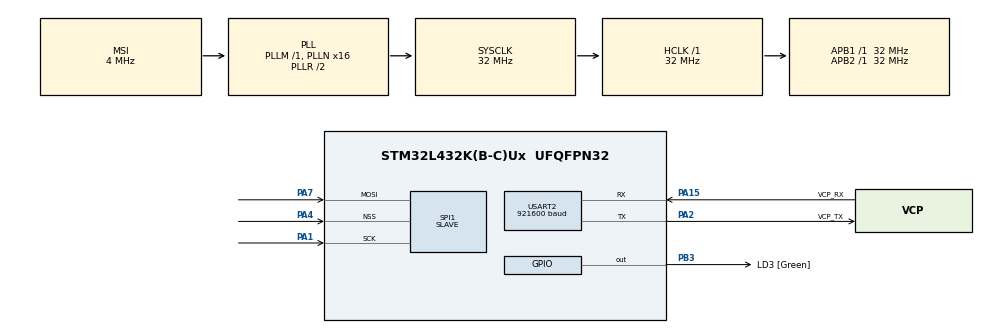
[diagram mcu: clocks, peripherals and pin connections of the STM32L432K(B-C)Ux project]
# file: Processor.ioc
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Dma.Request0=SPI1_RX
Dma.Request1=USART2_TX
Dma.SPI1_RX.0.Direction=DMA_PERIPH_TO_MEMORY
Dma.SPI1_RX.0.Instance=DMA2_Channel3
Dma.SPI1_RX.0.MemDataAlignment=DMA_MDATAALIGN_HALFWORD
Dma.SPI1_RX.0.MemInc=DMA_MINC_ENABLE
Dma.SPI1_RX.0.Mode=DMA_CIRCULAR
Dma.SPI1_RX.0.PeriphDataAlignment=DMA_PDATAALIGN_HALFWORD
Dma.SPI1_RX.0.PeriphInc=DMA_PINC_DISABLE
Dma.SPI1_RX.0.Priority=DMA_PRIORITY_LOW
Dma.USART2_TX.1.Direction=DMA_MEMORY_TO_PERIPH
Dma.USART2_TX.1.Instance=DMA1_Channel7
Dma.USART2_TX.1.MemDataAlignment=DMA_MDATAALIGN_BYTE
Dma.USART2_TX.1.MemInc=DMA_MINC_ENABLE
Dma.USART2_TX.1.Mode=DMA_NORMAL
Dma.USART2_TX.1.PeriphDataAlignment=DMA_PDATAALIGN_BYTE
Dma.USART2_TX.1.PeriphInc=DMA_PINC_DISABLE
Dma.USART2_TX.1.Priority=DMA_PRIORITY_LOW
Mcu.Family=STM32L4
Mcu.Name=STM32L432K(B-C)Ux
Mcu.Package=UFQFPN32
NVIC.DMA1_Channel7_IRQn=true\:0\:0\:false\:false\:true\:false\:true\:true
NVIC.DMA2_Channel3_IRQn=true\:0\:0\:false\:false\:true\:false\:true\:true
NVIC.PriorityGroup=NVIC_PRIORITYGROUP_4
NVIC.SPI1_IRQn=true\:0\:0\:false\:false\:true\:true\:true\:true
NVIC.USART2_IRQn=true\:0\:0\:false\:false\:true\:true\:true\:true
PA0.GPIO_Label=MCO [High speed clock in]
PA0.Mode=HSE-External-Clock-Source-for-LittleOrca
PA0.Signal=RCC_CK_IN
PA1.Mode=RX_Only_Simplex_Unidirect_Slave
PA1.Signal=SPI1_SCK
PA13\ (JTMS-SWDIO).GPIO_Label=SWDIO
PA13\ (JTMS-SWDIO).Mode=Serial_Wire
PA13\ (JTMS-SWDIO).Signal=SYS_JTMS-SWDIO
PA14\ (JTCK-SWCLK).GPIO_Label=SWCLK
PA14\ (JTCK-SWCLK).Mode=Serial_Wire
PA14\ (JTCK-SWCLK).Signal=SYS_JTCK-SWCLK
PA15\ (JTDI).GPIO_Label=VCP_RX
PA15\ (JTDI).Mode=Asynchronous
PA15\ (JTDI).Signal=USART2_RX
PA2.GPIO_Label=VCP_TX
PA2.Mode=Asynchronous
PA2.Signal=USART2_TX
PA4.Mode=NSS_Signal_Hard_Input
PA4.Signal=SPI1_NSS
PA7.Mode=RX_Only_Simplex_Unidirect_Slave
PA7.Signal=SPI1_MOSI
PB3\ (JTDO-TRACESWO).GPIO_Label=LD3 [Green]
PB3\ (JTDO-TRACESWO).Signal=GPIO_Output
PC14-OSC32_IN\ (PC14).Mode=LSE-External-Oscillator
PC14-OSC32_IN\ (PC14).Signal=RCC_OSC32_IN
PC15-OSC32_OUT\ (PC15).Mode=LSE-External-Oscillator
PC15-OSC32_OUT\ (PC15).Signal=RCC_OSC32_OUT
ProjectManager.HeapSize=0x200
ProjectManager.StackSize=0x400
ProjectManager.TargetToolchain=STM32CubeIDE
RCC.AHBFreq_Value=32000000
RCC.APB1Freq_Value=32000000
RCC.APB1TimFreq_Value=32000000
RCC.APB2Freq_Value=32000000
RCC.APB2TimFreq_Value=32000000
RCC.CortexFreq_Value=32000000
RCC.HCLKFreq_Value=32000000
RCC.HSE_VALUE=8000000
RCC.HSI16_VALUE=16000000
RCC.HSI48_VALUE=48000000
RCC.HSI_VALUE=16000000
RCC.MSI_VALUE=4000000
RCC.PLLMUL=RCC_PLLMUL_4
RCC.PLLN=16
RCC.SYSCLKFreq_VALUE=32000000
RCC.SYSCLKSource=RCC_SYSCLKSOURCE_PLLCLK
RCC.VCOOutputFreq_Value=64000000
SPI1.DataSize=SPI_DATASIZE_16BIT
SPI1.Direction=SPI_DIRECTION_2LINES_RXONLY
SPI1.Mode=SPI_MODE_SLAVE
SPI1.VirtualNSS=VM_NSSHARD
SPI1.VirtualType=VM_SLAVE
USART2.BaudRate=921600
USART2.Mode=MODE_TX_RX
USART2.VirtualMode-Asynchronous=VM_ASYNC
board=NUCLEO-L432KC

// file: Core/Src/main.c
/* USER CODE BEGIN Header */
/**
  ******************************************************************************
  * @file           : main.c
  * @brief          : Main program body
  ******************************************************************************
  * @attention
  *
  * Copyright (c) 2025 STMicroelectronics.
  * All rights reserved.
  *
  * This software is licensed under terms that can be found in the LICENSE file
  * in the root directory of this software component.
  * If no LICENSE file comes with this software, it is provided AS-IS.
  *
  ******************************************************************************
  */
/* USER CODE END Header */
#include "main.h"

/* USER CODE BEGIN Includes */
#include <stdio.h>
#include <string.h>

/* USER CODE END Includes */

SPI_HandleTypeDef hspi1;
DMA_HandleTypeDef hdma_spi1_rx;

UART_HandleTypeDef huart2;
DMA_HandleTypeDef hdma_usart2_tx;

/* USER CODE BEGIN PV */
#define BUFFER_SIZE 612
uint16_t spi_rx_buffer[BUFFER_SIZE];
uint16_t uart_tx_buffer0[BUFFER_SIZE / 2];
uint16_t uart_tx_buffer1[BUFFER_SIZE / 2];
uint16_t uart_tx_buffer2[BUFFER_SIZE / 2];
uint16_t uart_tx_buffer3[BUFFER_SIZE / 2];
uint16_t last_sample = 2048;
volatile uint8_t phase = 0;
volatile uint8_t isReady = 0;
volatile uint8_t isTransmit = 1;
volatile uint8_t counter = 0;
char uart_msg[64];

/* USER CODE END PV */

void SystemClock_Config(void);
static void MX_GPIO_Init(void);
static void MX_DMA_Init(void);
static void MX_USART2_UART_Init(void);
static void MX_SPI1_Init(void);

/* USER CODE BEGIN 0 */
void HAL_SPI_RxHalfCpltCallback(SPI_HandleTypeDef *hspi) {
    if (hspi->Instance == SPI1) {

        phase = 0;
        if (counter == 0) {
        	for (int i = 0; i < BUFFER_SIZE / 2; ++ i) {
			//			uart_tx_buffer0[i] = (last_sample + spi_rx_buffer[i]) >> 1;
			//			last_sample = spi_rx_buffer[i];
						uart_tx_buffer0[i] = spi_rx_buffer[i];
			}
        }
//        isReady = 1;

    }
}

void HAL_SPI_RxCpltCallback(SPI_HandleTypeDef *hspi) {
    if (hspi->Instance == SPI1) {
        phase = 1;
        if (counter == 0) {
			for (int i = 0; i < BUFFER_SIZE / 2; ++ i) {
		//			uart_tx_buffer0[i] = (last_sample + spi_rx_buffer[i]) >> 1;
		//			last_sample = spi_rx_buffer[i];
					uart_tx_buffer1[i] = spi_rx_buffer[i + (BUFFER_SIZE / 2)];
					}
			isReady = 1;
			counter = 1;
        }

    }
}

void HAL_UART_TxCpltCallback(UART_HandleTypeDef *huart) {
    if (huart->Instance == USART2) {
    	isTransmit = 1;
    }
}

/* USER CODE END 0 */

int main(void)
{

  /* MCU Configuration--------------------------------------------------------*/

  /* Reset of all peripherals, Initializes the Flash interface and the Systick. */
  HAL_Init();

  /* Configure the system clock */
  SystemClock_Config();

  /* Initialize all configured peripherals */
  MX_GPIO_Init();
  MX_DMA_Init();
  MX_USART2_UART_Init();
  MX_SPI1_Init();
  /* USER CODE BEGIN 2 */
  HAL_SPI_Receive_DMA(&hspi1, (uint8_t*)spi_rx_buffer, BUFFER_SIZE * 2);
  /* USER CODE END 2 */

  /* Infinite loop */
  /* USER CODE BEGIN WHILE */
  while (1)
  {

	  if( isReady) {
		  sprintf(uart_msg, " START\r\n");
		  HAL_UART_Transmit(&huart2, (uint8_t*)uart_msg, strlen(uart_msg), HAL_MAX_DELAY);
		  uint16_t value;
		  for (int i = 0; i < BUFFER_SIZE / 2; i++) {
		      value = uart_tx_buffer0[i];
		      sprintf(uart_msg, " 0|%d: %u\r\n", i % 128, value);  // Add index here
		      HAL_UART_Transmit(&huart2, (uint8_t*)uart_msg, strlen(uart_msg), HAL_MAX_DELAY);
		  }
		  for (int i = 0; i < BUFFER_SIZE / 2; i ++) {
			  value = uart_tx_buffer1[i];
			  sprintf(uart_msg, " 1|%d: %u\r\n", i % 128, value);
			  HAL_UART_Transmit(&huart2, (uint8_t*)uart_msg, strlen(uart_msg), HAL_MAX_DELAY);
		  }

		  isReady = 0;
	  }
//	  if (isReady && isTransmit) {
//		  isReady = 0;
//		  if (phase == 0) {
//			  HAL_UART_Transmit_DMA(&huart2, (uint8_t*)uart_tx_buffer0, BUFFER_SIZE);
////			  isTransmit = 0;
////			  uint16_t value;
////			  for (int i = 0; i < BUFFER_SIZE / 2; i ++) {
////				  value = uart_tx_buffer0[i];
////				  sprintf(uart_msg, "|%u\r\n", value);
////				  HAL_UART_Transmit(&huart2, (uint8_t*)uart_msg, strlen(uart_msg), HAL_MAX_DELAY);
//			  }
//		  } else {
////			  HAL_UART_Transmit_DMA(&huart2, (uint8_t*)uart_tx_buffer1, BUFFER_SIZE);
//			  isTransmit = 0;
////			  uint16_t first_adc_value = uart_tx_buffer1[0];
////			  sprintf(uart_msg, "ADC sampled being sent B1: %u\r\n", first_adc_value);
////			  HAL_UART_Transmit(&huart2, (uint8_t*)uart_msg, strlen(uart_msg), HAL_MAX_DELAY);
////			  first_adc_value = uart_tx_buffer1[1];
////			  sprintf(uart_msg, "ADC sampled being sent B2: %u\r\n", first_adc_value);
////			  HAL_UART_Transmit(&huart2, (uint8_t*)uart_msg, strlen(uart_msg), HAL_MAX_DELAY);
////			  first_adc_value = uart_tx_buffer1[2];
////			  sprintf(uart_msg, "ADC sampled being sent B3: %u\r\n", first_adc_value);
////			  HAL_UART_Transmit(&huart2, (uint8_t*)uart_msg, strlen(uart_msg), HAL_MAX_DELAY);
////			  first_adc_value = uart_tx_buffer1[(BUFFER_SIZE / 2) - 1];
////			  sprintf(uart_msg, "ADC sampled being sent B3: %u\r\n", first_adc_value);
////			  HAL_UART_Transmit_DMA(&huart2, (uint8_t*)uart_msg, strlen(uart_msg));
//
//		  }
//	  }
    /* USER CODE END WHILE */

  }
}

void SystemClock_Config(void)
{
  RCC_OscInitTypeDef RCC_OscInitStruct = {0};
  RCC_ClkInitTypeDef RCC_ClkInitStruct = {0};

  /** Configure the main internal regulator output voltage
  */
  if (HAL_PWREx_ControlVoltageScaling(PWR_REGULATOR_VOLTAGE_SCALE1) != HAL_OK)
  {
    Error_Handler();
  }

  /** Configure LSE Drive Capability
  */
  HAL_PWR_EnableBkUpAccess();
  __HAL_RCC_LSEDRIVE_CONFIG(RCC_LSEDRIVE_LOW);

  /** Initializes the RCC Oscillators according to the specified parameters
  * in the RCC_OscInitTypeDef structure.
  */
  RCC_OscInitStruct.OscillatorType = RCC_OSCILLATORTYPE_LSE|RCC_OSCILLATORTYPE_MSI;
  RCC_OscInitStruct.LSEState = RCC_LSE_ON;
  RCC_OscInitStruct.MSIState = RCC_MSI_ON;
  RCC_OscInitStruct.MSICalibrationValue = 0;
  RCC_OscInitStruct.MSIClockRange = RCC_MSIRANGE_6;
  RCC_OscInitStruct.PLL.PLLState = RCC_PLL_ON;
  RCC_OscInitStruct.PLL.PLLSource = RCC_PLLSOURCE_MSI;
  RCC_OscInitStruct.PLL.PLLM = 1;
  RCC_OscInitStruct.PLL.PLLN = 16;
  RCC_OscInitStruct.PLL.PLLP = RCC_PLLP_DIV7;
  RCC_OscInitStruct.PLL.PLLQ = RCC_PLLQ_DIV2;
  RCC_OscInitStruct.PLL.PLLR = RCC_PLLR_DIV2;
  if (HAL_RCC_OscConfig(&RCC_OscInitStruct) != HAL_OK)
  {
    Error_Handler();
  }

  /** Initializes the CPU, AHB and APB buses clocks
  */
  RCC_ClkInitStruct.ClockType = RCC_CLOCKTYPE_HCLK|RCC_CLOCKTYPE_SYSCLK
                              |RCC_CLOCKTYPE_PCLK1|RCC_CLOCKTYPE_PCLK2;
  RCC_ClkInitStruct.SYSCLKSource = RCC_SYSCLKSOURCE_PLLCLK;
  RCC_ClkInitStruct.AHBCLKDivider = RCC_SYSCLK_DIV1;
  RCC_ClkInitStruct.APB1CLKDivider = RCC_HCLK_DIV1;
  RCC_ClkInitStruct.APB2CLKDivider = RCC_HCLK_DIV1;

  if (HAL_RCC_ClockConfig(&RCC_ClkInitStruct, FLASH_LATENCY_1) != HAL_OK)
  {
    Error_Handler();
  }

  /** Enable MSI Auto calibration
  */
  HAL_RCCEx_EnableMSIPLLMode();
}

static void MX_SPI1_Init(void)
{

  /* SPI1 parameter configuration*/
  hspi1.Instance = SPI1;
  hspi1.Init.Mode = SPI_MODE_SLAVE;
  hspi1.Init.Direction = SPI_DIRECTION_2LINES_RXONLY;
  hspi1.Init.DataSize = SPI_DATASIZE_16BIT;
  hspi1.Init.CLKPolarity = SPI_POLARITY_LOW;
  hspi1.Init.CLKPhase = SPI_PHASE_1EDGE;
  hspi1.Init.NSS = SPI_NSS_HARD_INPUT;
  hspi1.Init.FirstBit = SPI_FIRSTBIT_MSB;
  hspi1.Init.TIMode = SPI_TIMODE_DISABLE;
  hspi1.Init.CRCCalculation = SPI_CRCCALCULATION_DISABLE;
  hspi1.Init.CRCPolynomial = 7;
  hspi1.Init.CRCLength = SPI_CRC_LENGTH_DATASIZE;
  hspi1.Init.NSSPMode = SPI_NSS_PULSE_DISABLE;
  if (HAL_SPI_Init(&hspi1) != HAL_OK)
  {
    Error_Handler();
  }

}

static void MX_USART2_UART_Init(void)
{

  huart2.Instance = USART2;
  huart2.Init.BaudRate = 921600;
  huart2.Init.WordLength = UART_WORDLENGTH_8B;
  huart2.Init.StopBits = UART_STOPBITS_1;
  huart2.Init.Parity = UART_PARITY_NONE;
  huart2.Init.Mode = UART_MODE_TX_RX;
  huart2.Init.HwFlowCtl = UART_HWCONTROL_NONE;
  huart2.Init.OverSampling = UART_OVERSAMPLING_16;
  huart2.Init.OneBitSampling = UART_ONE_BIT_SAMPLE_DISABLE;
  huart2.AdvancedInit.AdvFeatureInit = UART_ADVFEATURE_NO_INIT;
  if (HAL_UART_Init(&huart2) != HAL_OK)
  {
    Error_Handler();
  }

}

static void MX_DMA_Init(void)
{

  /* DMA controller clock enable */
  __HAL_RCC_DMA2_CLK_ENABLE();
  __HAL_RCC_DMA1_CLK_ENABLE();

  /* DMA interrupt init */
  /* DMA1_Channel7_IRQn interrupt configuration */
  HAL_NVIC_SetPriority(DMA1_Channel7_IRQn, 0, 0);
  HAL_NVIC_EnableIRQ(DMA1_Channel7_IRQn);
  /* DMA2_Channel3_IRQn interrupt configuration */
  HAL_NVIC_SetPriority(DMA2_Channel3_IRQn, 0, 0);
  HAL_NVIC_EnableIRQ(DMA2_Channel3_IRQn);

}

static void MX_GPIO_Init(void)
{
  GPIO_InitTypeDef GPIO_InitStruct = {0};

  /* GPIO Ports Clock Enable */
  __HAL_RCC_GPIOC_CLK_ENABLE();
  __HAL_RCC_GPIOA_CLK_ENABLE();
  __HAL_RCC_GPIOB_CLK_ENABLE();

  /*Configure GPIO pin Output Level */
  HAL_GPIO_WritePin(LD3_GPIO_Port, LD3_Pin, GPIO_PIN_RESET);

  /*Configure GPIO pin : LD3_Pin */
  GPIO_InitStruct.Pin = LD3_Pin;
  GPIO_InitStruct.Mode = GPIO_MODE_OUTPUT_PP;
  GPIO_InitStruct.Pull = GPIO_NOPULL;
  GPIO_InitStruct.Speed = GPIO_SPEED_FREQ_LOW;
  HAL_GPIO_Init(LD3_GPIO_Port, &GPIO_InitStruct);

}

void Error_Handler(void)
{
  __disable_irq();
  while (1)
  {
  }
}
